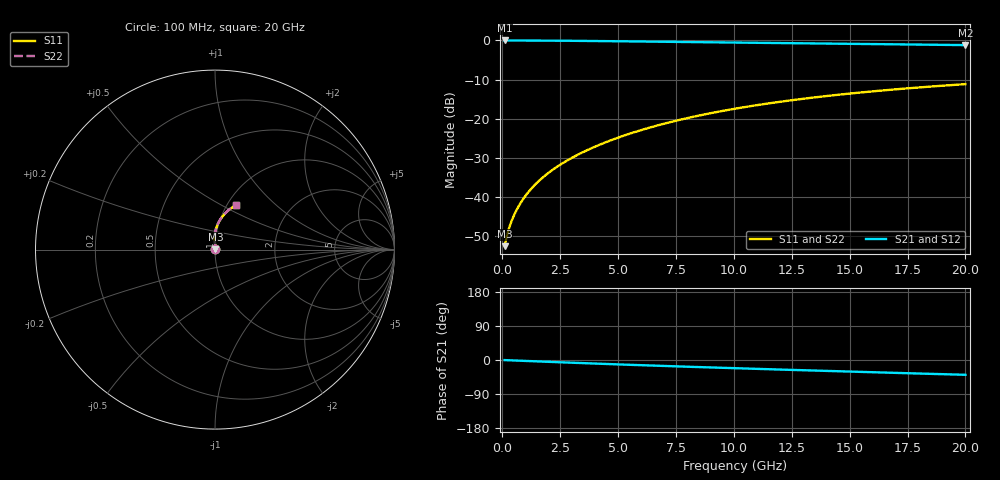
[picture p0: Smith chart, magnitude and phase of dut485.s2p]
! Touchstone file exported from HFSS 2024.1.0
!  File:  C:/UserFiles/LocalFiles/RDL_TSV_Batchsim/temp_RDL_bottom_485_1779686572.aedt
!  Generated:  01:25:22 PM May 25, 2026
!  Design:  RDL_bottom
!  Project:  temp_RDL_bottom_485_1779686572
!  Setup:  Setup1
!  Solution:  Sweep
! Variables:
!  dtsv = 10.80580581um
!  hbump = 3um
!  htsv = 87.26um
!  ldown = 604.5um
!  lrdl = 100um
!  p = 40
!  p1 = 49.14um
!  rhole = 1um
!  t = 450um
!  tdown = 4.27um
!  trdl = 3.915915916um
!  wdown = 28.8um
!  wrdl = 20um
# GHz S MA R 50.000000
! Terminal data exported
! Port[1] = RDL1_T1
! Port[2] = RDL1_T2
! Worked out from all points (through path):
!   200 points, 100 MHz to 20 GHz, reference 50 ohm
!   highest |S21| = -0.02 dB at 100 MHz (marker M1); lowest = -1.2 dB at 20 GHz (marker M2)
!   group delay of S21, straight-line fit = 5.34 ps
!   lowest |S11| = -52.6 dB at 100 MHz (marker M3), VSWR 1.00, Z = 50.2 + j0.124 ohm
!   |S11| at or under -10 dB: start of sweep to end of sweep
!   |S22| runs from -52.6 to -11.2 dB; largest |S21 - S12| = 2.7e-15
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0.1  0.002341 31.8  0.998 -0.3  0.998 -0.3  0.002341 31.8
! Gamma 0 0 0 0
! Port Impedance 50 0 50 0
0.2  0.003181 47.2  0.9978 -0.5  0.9978 -0.5  0.003181 47.2
0.3  0.004049 55.4  0.9976 -0.8  0.9976 -0.8  0.004048 55.4
0.4  0.004904 60.9  0.9974 -1.0  0.9974 -1.0  0.004903 60.9
0.5  0.005763 65.1  0.9972 -1.2  0.9972 -1.2  0.005763 65.2
0.6  0.006637 68.5  0.997 -1.5  0.997 -1.5  0.006636 68.6
0.8  0.008436 73.6  0.9966 -2.0  0.9966 -2.0  0.008435 73.7
1  0.0103 77.3  0.9962 -2.4  0.9962 -2.4  0.0103 77.3
1.2  0.01221 80.0  0.9957 -2.9  0.9957 -2.9  0.01221 80.0
1.7  0.01719 84.5  0.9941 -4.1  0.9941 -4.1  0.0172 84.6
2.2  0.02245 87.4  0.9921 -5.3  0.9921 -5.3  0.02245 87.4
2.8  0.02913 89.6  0.9891 -6.7  0.9891 -6.7  0.02914 89.7
3.5  0.03744 91.2  0.985 -8.3  0.985 -8.3  0.03747 91.2
4.2  0.04632 91.9  0.9805 -9.9  0.9805 -9.9  0.04635 92.0
5  0.0571 92.1  0.9748 -11.6  0.9748 -11.6  0.05715 92.2
6.8  0.08328 90.7  0.9612 -15.4  0.9612 -15.4  0.08338 90.7
8.4  0.1079 88.2  0.9491 -18.5  0.9491 -18.5  0.1081 88.2
10.1  0.1346 84.8  0.9365 -21.7  0.9365 -21.7  0.1348 84.9
11.7  0.1596 81.5  0.9251 -24.7  0.9251 -24.7  0.1598 81.5
13.4  0.1855 77.8  0.9134 -27.8  0.9134 -27.8  0.1858 77.9
16.7  0.2329 70.9  0.8914 -33.5  0.8914 -33.5  0.2333 70.9
20  0.2759 64.3  0.8703 -39.1  0.8703 -39.1  0.2764 64.4
